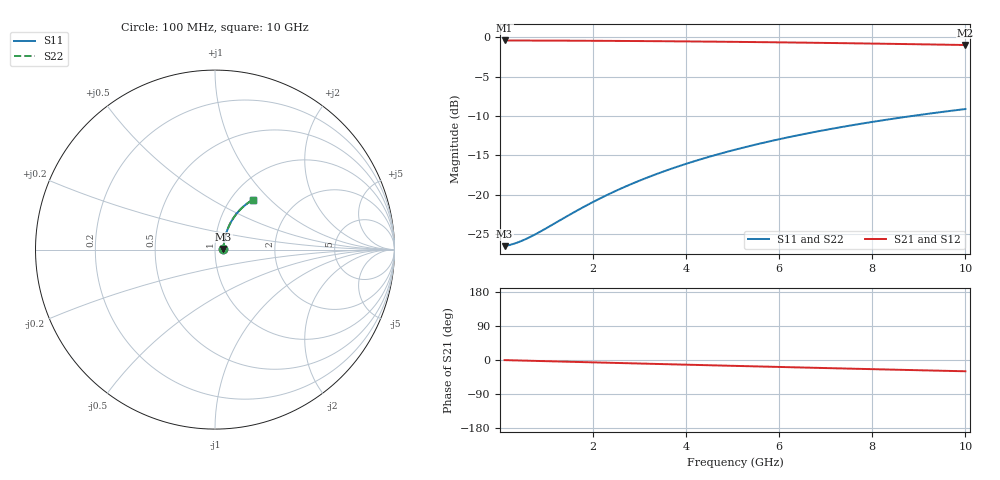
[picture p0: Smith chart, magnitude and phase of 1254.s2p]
# Hz S RI R 50.00
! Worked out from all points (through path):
!   100 points, 100 MHz to 10 GHz, reference 50 ohm
!   highest |S21| = -0.42 dB at 100 MHz (marker M1); lowest = -1.0 dB at 10 GHz (marker M2)
!   group delay of S21, straight-line fit = 8.29 ps
!   lowest |S11| = -26.5 dB at 100 MHz (marker M3), VSWR 1.10, Z = 54.9 + j0.39 ohm
!   |S11| at or under -10 dB: start of sweep to 8.861 GHz
!   |S22| runs from -26.5 to -9.1 dB; largest |S21 - S12| = 0
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1e8  0.047 0.00354  0.953 -0.00518  0.953 -0.00518  0.047 0.00354
3e8  0.0477 0.0106  0.9523 -0.0155  0.9523 -0.0155  0.0477 0.0106
4e8  0.048 0.0141  0.952 -0.0207  0.952 -0.0207  0.048 0.0141
6e8  0.0487 0.0212  0.9513 -0.031  0.9513 -0.031  0.0487 0.0212
9e8  0.0498 0.0317  0.95 -0.0464  0.95 -0.0464  0.0498 0.0317
1.5e9  0.0531 0.0526  0.9466 -0.0771  0.9466 -0.0771  0.0531 0.0526
1.8e9  0.0551 0.063  0.9444 -0.0923  0.9444 -0.0923  0.0551 0.063
2.2e9  0.0584 0.0766  0.941 -0.1125  0.941 -0.1125  0.0584 0.0766
2.6e9  0.0622 0.0901  0.9369 -0.1325  0.9369 -0.1325  0.0622 0.0901
3e9  0.0665 0.1033  0.9322 -0.1523  0.9322 -0.1523  0.0665 0.1033
3.4e9  0.0714 0.1164  0.927 -0.1719  0.927 -0.1719  0.0714 0.1164
3.8e9  0.0768 0.1291  0.9212 -0.1912  0.9212 -0.1912  0.0768 0.1291
4.2e9  0.0827 0.1416  0.9148 -0.2102  0.9148 -0.2102  0.0827 0.1416
4.6e9  0.0891 0.1537  0.9079 -0.2289  0.9079 -0.2289  0.0891 0.1537
5.1e9  0.0978 0.1684  0.8986 -0.2518  0.8986 -0.2518  0.0978 0.1684
5.5e9  0.1052 0.1797  0.8906 -0.2697  0.8906 -0.2697  0.1052 0.1797
5.9e9  0.113 0.1907  0.8821 -0.2873  0.8821 -0.2873  0.113 0.1907
6.7e9  0.1299 0.2114  0.8638 -0.3212  0.8638 -0.3212  0.1299 0.2114
7.5e9  0.1482 0.2304  0.8439 -0.3534  0.8439 -0.3534  0.1482 0.2304
8.4e9  0.1702 0.2497  0.8199 -0.3876  0.8199 -0.3876  0.1702 0.2497
9.2e9  0.1908 0.2648  0.7974 -0.4161  0.7974 -0.4161  0.1908 0.2648
1e10  0.2122 0.2781  0.7738 -0.4427  0.7738 -0.4427  0.2122 0.2781
